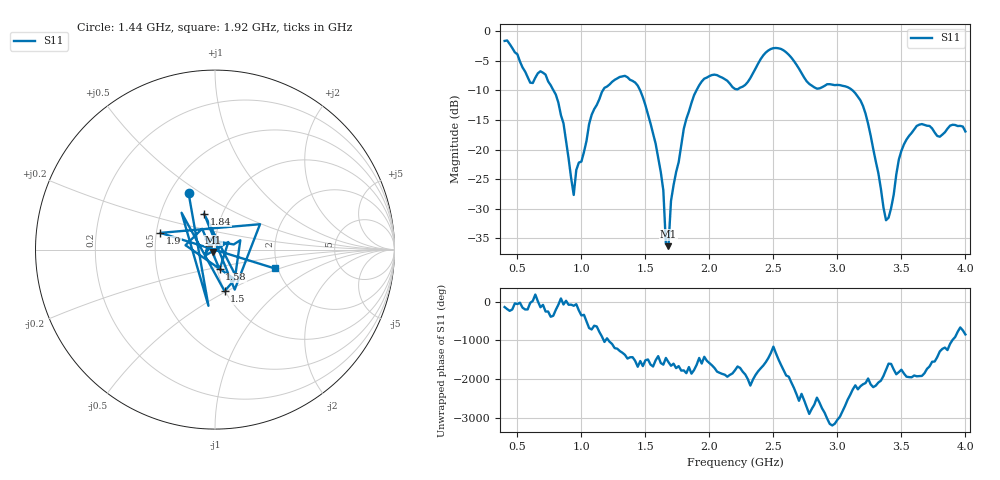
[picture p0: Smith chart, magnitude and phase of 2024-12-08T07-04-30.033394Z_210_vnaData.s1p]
!Created with skrf (http://scikit-rf.org).
# Hz S RI R 50.0
!freq ReS11 ImS11
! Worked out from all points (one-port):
!   181 points, 400 MHz to 4 GHz, reference 50 ohm
!   lowest |S11| = -36.3 dB at 1.68 GHz (marker M1), VSWR 1.03, Z = 49.1 - j1.24 ohm
!   |S11| at or under -10 dB: 782 MHz to 1.168 GHz (385.5 MHz wide, 39.6 % of centre); 1.459 GHz to 1.899 GHz (439.2 MHz wide, 26.2 % of centre); 3.119 GHz to end of sweep
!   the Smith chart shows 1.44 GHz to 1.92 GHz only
!   S11 on the Smith chart (normalised r, x): 1.44 GHz: 0.62, +0.44; 1.5 GHz: 0.99, -0.49; 1.58 GHz: 1.03, -0.23; 1.84 GHz: 0.82, +0.34; 1.9 GHz: 0.53, +0.11; 1.92 GHz: 1.93, -0.46
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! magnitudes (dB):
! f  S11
! 400 MHz  -1.6
! 600 MHz  -8.7
! 720 MHz  -7.3
! 860 MHz  -15.6
! 940 MHz  -27.7
! 1.08 GHz  -14.1
! 1.3 GHz  -7.7
! 1.44 GHz  -9.2
! 1.5 GHz  -12.5
! 1.58 GHz  -19.0
! 1.64 GHz  -26.9
! 1.66 GHz  -36.0
! 1.68 GHz  -36.3
! 1.7 GHz  -28.7
! 1.76 GHz  -22.1
! 1.84 GHz  -13.6
! 1.9 GHz  -9.9
! 1.92 GHz  -9.1
! 2.2 GHz  -9.7
! 2.48 GHz  -3.0
! 2.66 GHz  -5.0
! 2.84 GHz  -9.7
! 3.1 GHz  -9.7
! 3.22 GHz  -13.9
! 3.38 GHz  -32.0
! 3.48 GHz  -21.7
! 3.56 GHz  -17.7
! 4 GHz  -16.9
